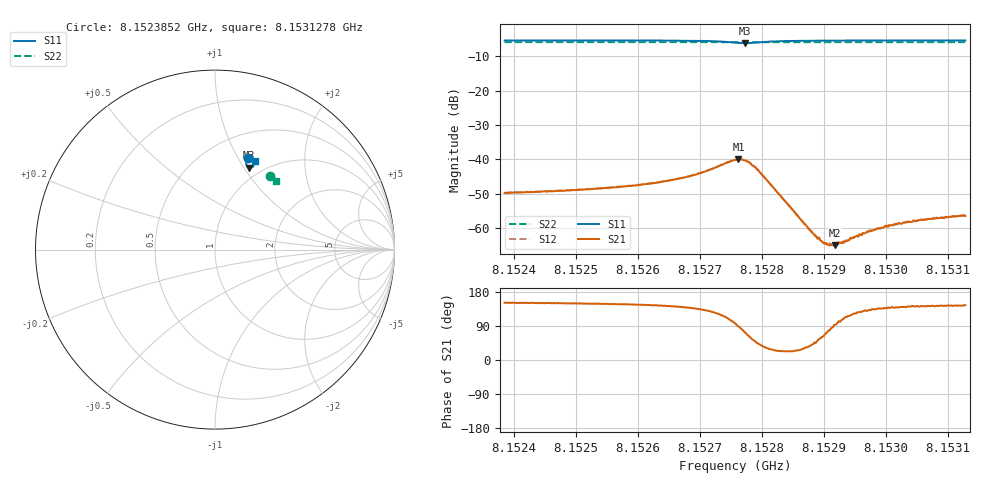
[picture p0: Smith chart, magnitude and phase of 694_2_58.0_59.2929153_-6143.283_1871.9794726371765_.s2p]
#  HZ  S  RI  R  50.00
! Rohde & Schwarz Vector Network Analyzer
! Rohde-Schwarz,ZNB20-2Port,1311601062101988,3.16
! Created: UTC 3/21/2024, 1:21:23 AM
! freq[Hz]  re:S11  im:S11  re:S21  im:S21  re:S12  im:S12  re:S22  im:S22
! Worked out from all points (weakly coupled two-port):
!   401 points, 8.1523852 GHz to 8.1531278 GHz, reference 50 ohm
!   highest |S21| = -39.97 dB at 8.152762 GHz (marker M1); lowest = -65.1 dB at 8.152918 GHz (marker M2)
!   lowest |S11| = -6.1 dB at 8.1527732 GHz (marker M3), VSWR 2.95, Z = 43.5 + j52.5 ohm
!   |S11| at or under -10 dB: nowhere
!   |S22| runs from -5.9 to -5.8 dB; largest |S21 - S12| = 0.00032
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8.15238516e9  0.1826 0.5088  -0.00284 0.00157  -0.00288 0.0016  0.3053 0.4101
8.15250955e9  0.1926 0.5049  -0.00311 0.00185  -0.0031 0.00192  0.3115 0.4053
8.15257825e9  0.1989 0.502  -0.00338 0.0022  -0.00342 0.00225  0.315 0.4024
8.15263394e9  0.2048 0.4985  -0.00372 0.00274  -0.00372 0.00282  0.3177 0.4002
8.1526915e9  0.2127 0.491  -0.0043 0.00411  -0.00428 0.00424  0.3207 0.3976
8.15275648e9  0.2069 0.4587  -0.00119 0.00977  -0.000984 0.00983  0.323 0.3939
8.15276204e9  0.2011 0.456  0.000247 0.01  0.000404 0.01  0.3229 0.3936
8.15277318e9  0.1867 0.457  0.00305 0.00916  0.00324 0.00896  0.3229 0.3933
8.15278247e9  0.1777 0.4647  0.00461 0.00723  0.00475 0.00706  0.3233 0.3935
8.15279361e9  0.1739 0.4761  0.00514 0.00488  0.00515 0.0047  0.3239 0.3936
8.15282702e9  0.1834 0.4948  0.00285 0.00129  0.00289 0.00122  0.326 0.3927
8.15288086e9  0.197 0.4993  0.000646 0.000556  0.000709 0.00055  0.3292 0.3905
8.15289015e9  0.1985 0.4992  0.000428 0.000547  0.000436 0.000548  0.3296 0.3901
8.15290129e9  0.2003 0.4992  0.000222 0.000544  0.000237 0.000572  0.3301 0.3896
8.15290871e9  0.2014 0.4991  0.000118 0.000548  0.000103 0.000594  0.3304 0.3893
8.15291799e9  0.2027 0.4991  -2.6e-05 0.000556  -4.48e-05 0.000596  0.331 0.389
8.15293656e9  0.2051 0.4986  -0.000255 0.000589  -0.000258 0.000609  0.3318 0.3881
8.15294584e9  0.2063 0.4983  -0.000367 0.000613  -0.000376 0.000621  0.3323 0.3877
8.15296998e9  0.2089 0.4977  -0.000576 0.000685  -0.000589 0.000636  0.3335 0.3867
8.15300525e9  0.2123 0.4968  -0.000805 0.000748  -0.000793 0.00075  0.3351 0.3852
8.15305724e9  0.2168 0.4954  -0.00104 0.000806  -0.00103 0.000804  0.3376 0.383
8.15312778e9  0.2225 0.4934  -0.00121 0.000868  -0.00125 0.000905  0.3409 0.3798
